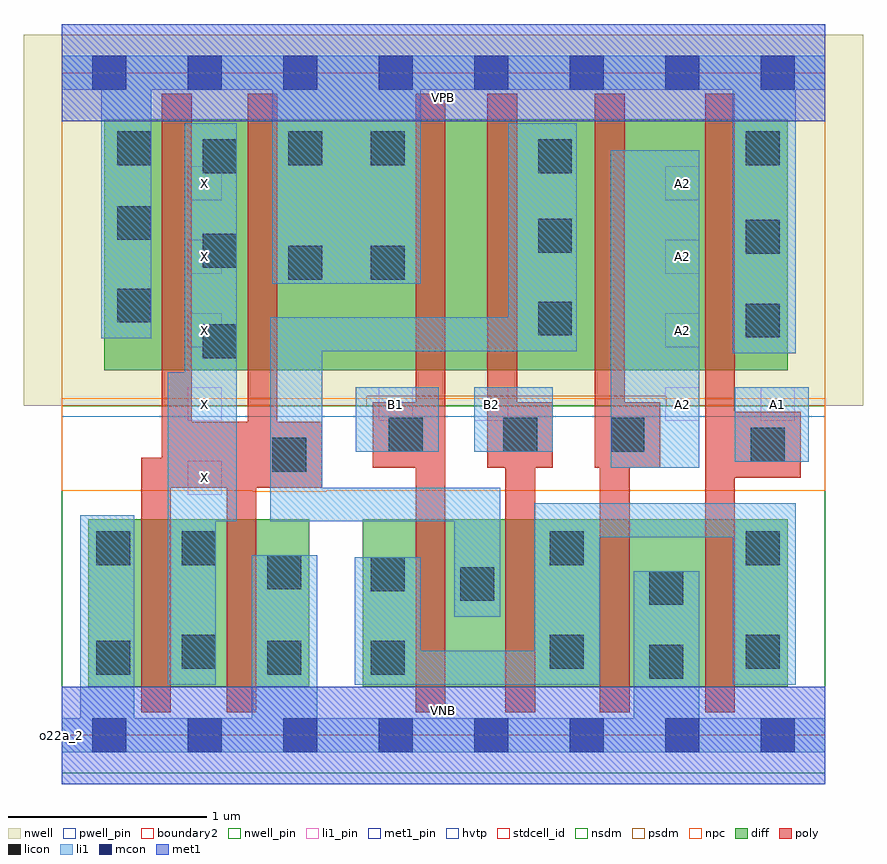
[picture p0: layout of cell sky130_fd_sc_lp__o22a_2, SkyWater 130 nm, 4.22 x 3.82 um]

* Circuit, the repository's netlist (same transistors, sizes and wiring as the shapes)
* Copyright 2020 The SkyWater PDK Authors
*
* Licensed under the Apache License, Version 2.0 (the "License");
* you may not use this file except in compliance with the License.
* You may obtain a copy of the License at
*
*     https://www.apache.org/licenses/LICENSE-2.0
*
* Unless required by applicable law or agreed to in writing, software
* distributed under the License is distributed on an "AS IS" BASIS,
* WITHOUT WARRANTIES OR CONDITIONS OF ANY KIND, either express or implied.
* See the License for the specific language governing permissions and
* limitations under the License.
*
* SPDX-License-Identifier: Apache-2.0

.SUBCKT sky130_fd_sc_lp__o22a_2 A1 A2 B1 B2 VGND VNB VPB VPWR X
*.PININFO A1:I A2:I B1:I B2:I VGND:I VNB:I VPB:I VPWR:I X:O
MMPA0 VPWR A1 sndA1 VPB sky130_fd_pr__pfet_01v8_hvt m=1 w=1.26U l=0.15U mult=1
+ sa=0.265 sb=0.265 sd=0.28 area=0.063 perim=1.14
MMPA1 sndA1 A2 y VPB sky130_fd_pr__pfet_01v8_hvt m=1 w=1.26U l=0.15U mult=1 sa=0.265
+ sb=0.265 sd=0.28 area=0.063 perim=1.14
MMPB0 VPWR B1 sndB1 VPB sky130_fd_pr__pfet_01v8_hvt m=1 w=1.26U l=0.15U mult=1
+ sa=0.265 sb=0.265 sd=0.28 area=0.063 perim=1.14
MMPB1 sndB1 B2 y VPB sky130_fd_pr__pfet_01v8_hvt m=1 w=1.26U l=0.15U mult=1 sa=0.265
+ sb=0.265 sd=0.28 area=0.063 perim=1.14
MMIPX X y VPWR VPB sky130_fd_pr__pfet_01v8_hvt m=2 w=1.26U l=0.15U mult=1 sa=0.265
+ sb=0.265 sd=0.28 area=0.063 perim=1.14
MMNA0 pndA A1 VGND VNB sky130_fd_pr__nfet_01v8 m=1 w=0.84U l=0.15U mult=1 sa=0.265
+ sb=0.265 sd=0.28 area=0.063 perim=1.14
MMNA1 pndA A2 VGND VNB sky130_fd_pr__nfet_01v8 m=1 w=0.84U l=0.15U mult=1 sa=0.265
+ sb=0.265 sd=0.28 area=0.063 perim=1.14
MMNB0 y B1 pndA VNB sky130_fd_pr__nfet_01v8 m=1 w=0.84U l=0.15U mult=1 sa=0.265
+ sb=0.265 sd=0.28 area=0.063 perim=1.14
MMNB1 y B2 pndA VNB sky130_fd_pr__nfet_01v8 m=1 w=0.84U l=0.15U mult=1 sa=0.265
+ sb=0.265 sd=0.28 area=0.063 perim=1.14
MMINX X y VGND VNB sky130_fd_pr__nfet_01v8 m=2 w=0.84U l=0.15U mult=1 sa=0.265
+ sb=0.265 sd=0.28 area=0.063 perim=1.14
.ENDS sky130_fd_sc_lp__o22a_2

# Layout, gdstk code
import gdstk
lib = gdstk.Library(unit=1e-6, precision=1e-09)
def R(c, l, rs):  # rectangles x0, y0, x1, y1
    for r in rs: c.add(gdstk.rectangle(r[:2], r[2:], *l))
def A(c, l, x, y, w, h, nx, ny, dx, dy):  # array of equal rectangles
    R(c, l, [(x+i*dx, y+j*dy, x+i*dx+w, y+j*dy+h) for i in range(nx) for j in range(ny)])
def P(c, l, *ps):  # polygons
    for p in ps: c.add(gdstk.Polygon(p, *l))
nwell_pin = (64, 16)
nwell = (64, 20)
diff = (65, 20)
poly = (66, 20)
licon = (66, 44)
li1_pin = (67, 16)
li1 = (67, 20)
mcon = (67, 44)
met1_pin = (68, 16)
met1 = (68, 20)
hvtp = (78, 44)
stdcell_id = (81, 4)
nsdm = (93, 44)
psdm = (94, 20)
npc = (95, 20)
pwell_pin = (122, 16)
boundary2 = (236, 0)

sky130_fd_sc_lp__o22a_2 = lib.new_cell('sky130_fd_sc_lp__o22a_2')
R(sky130_fd_sc_lp__o22a_2, nwell_pin, [(0,3.085,3.84,3.33)])
R(sky130_fd_sc_lp__o22a_2, nwell, [(-0.19,1.655,4.03,3.52)])
R(sky130_fd_sc_lp__o22a_2, diff, [(0.135,0.245,1.245,1.085), (1.515,0.245,3.65,1.085), (0.215,1.835,3.65,3.095)])
P(sky130_fd_sc_lp__o22a_2, poly, [(1.31,1.575),(1.085,1.575),(1.085,3.225),(0.935,3.225),(0.935,1.575),(0.655,1.575),(0.655,3.225),(0.505,3.225),(0.505,1.395),(0.4,1.395),(0.4,0.115),(0.55,0.115),(0.55,1.245),(0.83,1.245),(0.83,0.115),(0.98,0.115),(0.98,1.245),(1.31,1.245)],
  [(1.93,3.225),(1.78,3.225),(1.78,1.675),(1.565,1.675),(1.565,1.345),(1.78,1.345),(1.78,0.115),(1.93,0.115)],
  [(2.47,1.675),(2.29,1.675),(2.29,3.225),(2.14,3.225),(2.14,1.345),(2.23,1.345),(2.23,0.115),(2.38,0.115),(2.38,1.345),(2.47,1.345)],
  [(3.01,1.675),(2.83,1.675),(2.83,3.225),(2.68,3.225),(2.68,1.345),(2.705,1.345),(2.705,0.115),(2.855,0.115),(2.855,1.345),(3.01,1.345)],
  [(3.715,1.625),(3.385,1.625),(3.385,3.225),(3.235,3.225),(3.235,0.115),(3.385,0.115),(3.385,1.295),(3.715,1.295)])
R(sky130_fd_sc_lp__o22a_2, licon, [(2.955,0.285,3.125,0.455), (0.175,0.305,0.345,0.475), (1.035,0.305,1.205,0.475), (1.555,0.305,1.725,0.475), (0.605,0.335,0.775,0.505), (2.455,0.335,2.625,0.505), (3.44,0.335,3.61,0.505), (2.955,0.655,3.125,0.825), (2.005,0.675,2.175,0.845), (1.555,0.725,1.725,0.895), (1.035,0.735,1.205,0.905), (0.175,0.855,0.345,1.025), (0.605,0.855,0.775,1.025), (2.455,0.855,2.625,1.025), (3.44,0.855,3.61,1.025), (1.06,1.325,1.23,1.495), (3.465,1.375,3.635,1.545), (1.645,1.425,1.815,1.595), (2.22,1.425,2.39,1.595), (2.76,1.425,2.93,1.595), (0.71,1.895,0.88,2.065), (3.44,2,3.61,2.17), (2.395,2.01,2.565,2.18), (0.28,2.075,0.45,2.245), (1.14,2.29,1.31,2.46), (1.555,2.29,1.725,2.46), (0.71,2.35,0.88,2.52), (3.44,2.42,3.61,2.59), (2.395,2.425,2.565,2.595), (0.28,2.49,0.45,2.66), (0.71,2.825,0.88,2.995), (2.395,2.825,2.565,2.995), (0.28,2.865,0.45,3.035), (1.14,2.865,1.31,3.035), (1.555,2.865,1.725,3.035), (3.44,2.865,3.61,3.035)])
A(sky130_fd_sc_lp__o22a_2, li1_pin, 0.635, 1.21, 0.17, 0.17, 1, 5, 0, 0.37)
A(sky130_fd_sc_lp__o22a_2, li1_pin, 3.035, 1.58, 0.17, 0.17, 1, 4, 0, 0.37)
R(sky130_fd_sc_lp__o22a_2, li1_pin, [(1.595,1.58,1.765,1.75), (2.075,1.58,2.245,1.75), (3.515,1.58,3.685,1.75)])
R(sky130_fd_sc_lp__o22a_2, li1, [(2.76,1.345,3.205,2.94), (3.385,1.375,3.755,1.75), (1.48,1.425,1.895,1.75), (2.075,1.425,2.47,1.75)])
P(sky130_fd_sc_lp__o22a_2, li1, [(3.375,1.92),(3.375,3.245),(1.805,3.245),(1.805,2.27),(1.06,2.27),(1.06,3.245),(0.45,3.245),(0.45,1.995),(0.2,1.995),(0.2,3.245),(0,3.245),(0,3.415),(3.84,3.415),(3.84,3.245),(3.69,3.245),(3.69,1.92)],
  [(0.955,0.085),(0.955,0.905),(1.285,0.905),(1.285,0.085),(2.875,0.085),(2.875,0.825),(3.205,0.825),(3.205,0.085),(3.84,0.085),(3.84,-0.085),(0,-0.085),(0,0.085),(0.095,0.085),(0.095,1.105),(0.365,1.105),(0.365,0.085)],
  [(0.88,3.075),(0.62,3.075),(0.62,1.825),(0.535,1.825),(0.535,0.255),(0.775,0.255),(0.775,1.075),(0.88,1.075)],
  [(1.05,2.1),(2.245,2.1),(2.245,3.075),(2.59,3.075),(2.59,1.93),(1.31,1.93),(1.31,1.245),(2.205,1.245),(2.205,0.595),(1.975,0.595),(1.975,1.075),(1.05,1.075)],
  [(3.375,0.995),(2.705,0.995),(2.705,0.255),(1.475,0.255),(1.475,0.895),(1.805,0.895),(1.805,0.425),(2.375,0.425),(2.375,1.165),(3.69,1.165),(3.69,0.255),(3.375,0.255)])
A(sky130_fd_sc_lp__o22a_2, mcon, 0.155, -0.085, 0.17, 0.17, 8, 2, 0.48, 3.33)
R(sky130_fd_sc_lp__o22a_2, met1_pin, [(0,0,3.84,0.245), (0,3.085,3.84,3.33)])
R(sky130_fd_sc_lp__o22a_2, met1, [(0,-0.245,3.84,0.245), (0,3.085,3.84,3.575)])
R(sky130_fd_sc_lp__o22a_2, hvtp, [(0,1.6,3.84,3.33)])
R(sky130_fd_sc_lp__o22a_2, stdcell_id, [(0,0,3.84,3.33)])
R(sky130_fd_sc_lp__o22a_2, nsdm, [(0,-0.19,3.84,1.655)])
P(sky130_fd_sc_lp__o22a_2, psdm, [(3.84,3.52),(0,3.52),(0,1.655),(1.535,1.655),(1.535,1.705),(3.04,1.705),(3.04,1.655),(3.84,1.655)])
P(sky130_fd_sc_lp__o22a_2, npc, [(3.84,1.695),(0,1.695),(0,1.23),(0.96,1.23),(0.96,1.225),(1.33,1.225),(1.33,1.23),(3.84,1.23)])
R(sky130_fd_sc_lp__o22a_2, pwell_pin, [(0,0,3.84,0.245)])
R(sky130_fd_sc_lp__o22a_2, boundary2, [(0,0,3.84,3.33)])
sky130_fd_sc_lp__o22a_2.add(gdstk.Label('VNB', (1.92,0.123), layer=64, texttype=59))
sky130_fd_sc_lp__o22a_2.add(gdstk.Label('VPB', (1.92,3.208), layer=64, texttype=5))
sky130_fd_sc_lp__o22a_2.add(gdstk.Label('o22a_2', (0,0), layer=83, texttype=44))
sky130_fd_sc_lp__o22a_2.add(gdstk.Label('VPWR', (1.92,3.208), layer=68, texttype=5))
sky130_fd_sc_lp__o22a_2.add(gdstk.Label('VGND', (1.92,0.123), layer=68, texttype=5))
sky130_fd_sc_lp__o22a_2.add(gdstk.Label('X', (0.72,1.295), layer=67, texttype=5))
sky130_fd_sc_lp__o22a_2.add(gdstk.Label('X', (0.72,1.665), layer=67, texttype=5))
sky130_fd_sc_lp__o22a_2.add(gdstk.Label('X', (0.72,2.035), layer=67, texttype=5))
sky130_fd_sc_lp__o22a_2.add(gdstk.Label('X', (0.72,2.405), layer=67, texttype=5))
sky130_fd_sc_lp__o22a_2.add(gdstk.Label('X', (0.72,2.775), layer=67, texttype=5))
sky130_fd_sc_lp__o22a_2.add(gdstk.Label('A1', (3.6,1.665), layer=67, texttype=5))
sky130_fd_sc_lp__o22a_2.add(gdstk.Label('A2', (3.12,1.665), layer=67, texttype=5))
sky130_fd_sc_lp__o22a_2.add(gdstk.Label('A2', (3.12,2.035), layer=67, texttype=5))
sky130_fd_sc_lp__o22a_2.add(gdstk.Label('A2', (3.12,2.405), layer=67, texttype=5))
sky130_fd_sc_lp__o22a_2.add(gdstk.Label('A2', (3.12,2.775), layer=67, texttype=5))
sky130_fd_sc_lp__o22a_2.add(gdstk.Label('B2', (2.16,1.665), layer=67, texttype=5))
sky130_fd_sc_lp__o22a_2.add(gdstk.Label('B1', (1.68,1.665), layer=67, texttype=5))

lib.write_gds('sky130_fd_sc_lp__o22a_2.gds')
